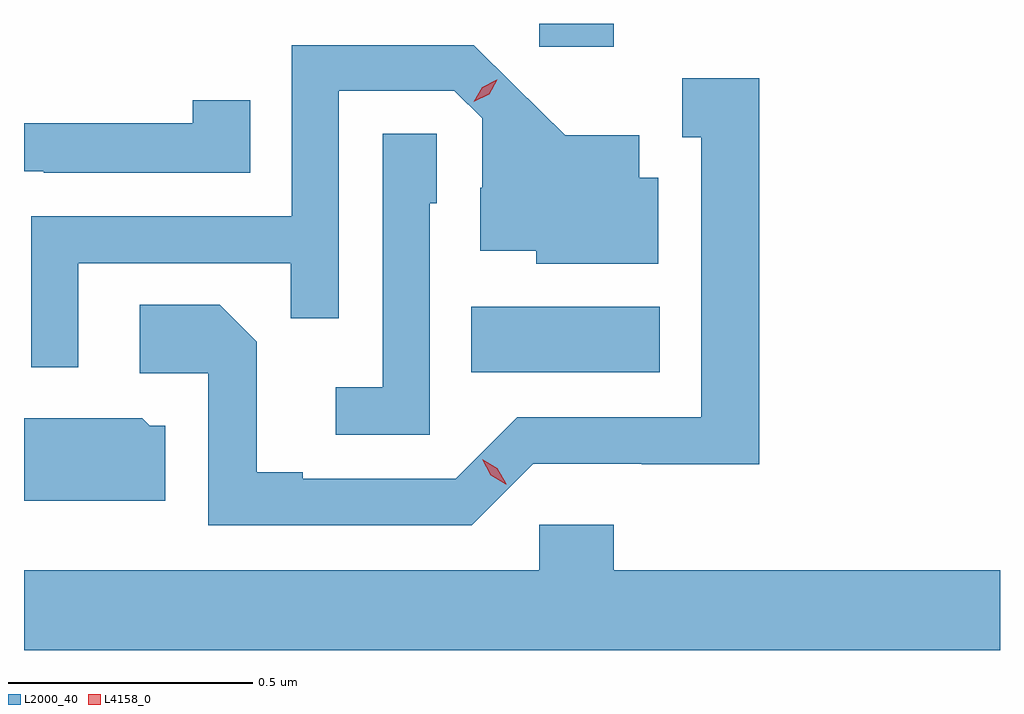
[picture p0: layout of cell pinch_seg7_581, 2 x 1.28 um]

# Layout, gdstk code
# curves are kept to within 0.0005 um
import gdstk
lib = gdstk.Library(unit=1e-6, precision=1e-09)
def R(c, l, rs):  # rectangles x0, y0, x1, y1
    for r in rs: c.add(gdstk.rectangle(r[:2], r[2:], *l))
def P(c, l, *ps):  # polygons
    for p in ps: c.add(gdstk.Polygon(p, *l))
L2000_40 = (2000, 40)
L4158_0 = (4158, 0)

pinch_seg7_581 = lib.new_cell('pinch_seg7_581')
R(pinch_seg7_581, L2000_40, [(130.93,1051.802,131.317,1051.936), (131.07,1052.469,131.222,1052.516)])
P(pinch_seg7_581, L2000_40, [(130.125,1052.025),(130.561,1052.025),(130.561,1051.912),(130.659,1051.912),(130.659,1052.379),(130.896,1052.379),(130.953,1052.322),(130.953,1052.18),(130.949,1052.18),(130.949,1052.051),(131.064,1052.051),(131.064,1052.024),(131.314,1052.024),(131.314,1052.2),(131.275,1052.2),(131.275,1052.287),(131.123,1052.287),(130.936,1052.472),(130.563,1052.472),(130.563,1052.121),(130.029,1052.121),(130.029,1051.812),(130.125,1051.812)],
  [(131.058,1051.614),(131.28,1051.614),(131.28,1051.613),(131.521,1051.613),(131.521,1052.404),(131.363,1052.404),(131.363,1052.283),(131.402,1052.283),(131.402,1051.71),(131.025,1051.71),(130.899,1051.584),(130.585,1051.584),(130.585,1051.597),(130.491,1051.597),(130.491,1051.864),(130.415,1051.94),(130.251,1051.94),(130.251,1051.8),(130.392,1051.8),(130.392,1051.488),(130.932,1051.488)],
  [(130.478,1052.359),(130.36,1052.359),(130.36,1052.312),(130.014,1052.312),(130.014,1052.214),(130.054,1052.214),(130.054,1052.211),(130.478,1052.211)],
  [(130.845,1052.148),(130.86,1052.148),(130.86,1052.291),(130.749,1052.291),(130.749,1051.771),(130.653,1051.771),(130.653,1051.674),(130.845,1051.674)],
  [(130.303,1051.692),(130.272,1051.692),(130.256,1051.708),(130.122,1051.708),(130.122,1051.707),(130.014,1051.707),(130.014,1051.538),(130.303,1051.538)],
  [(132.014,1051.396),(131.222,1051.396),(131.222,1051.489),(131.07,1051.489),(131.07,1051.396),(130.014,1051.396),(130.014,1051.232),(132.014,1051.232)])
P(pinch_seg7_581, L4158_0, [(131.001,1051.572),(130.97,1051.591),(130.953,1051.624),(130.953,1051.624),(130.953,1051.624),(130.984,1051.605),(131.002,1051.573),(131.002,1051.572)],
  [(130.936,1052.356),(130.936,1052.356),(130.953,1052.386),(130.983,1052.401),(130.984,1052.401),(130.984,1052.401),(130.967,1052.371),(130.936,1052.356)])

lib.write_gds('pinch_seg7_581.gds')
